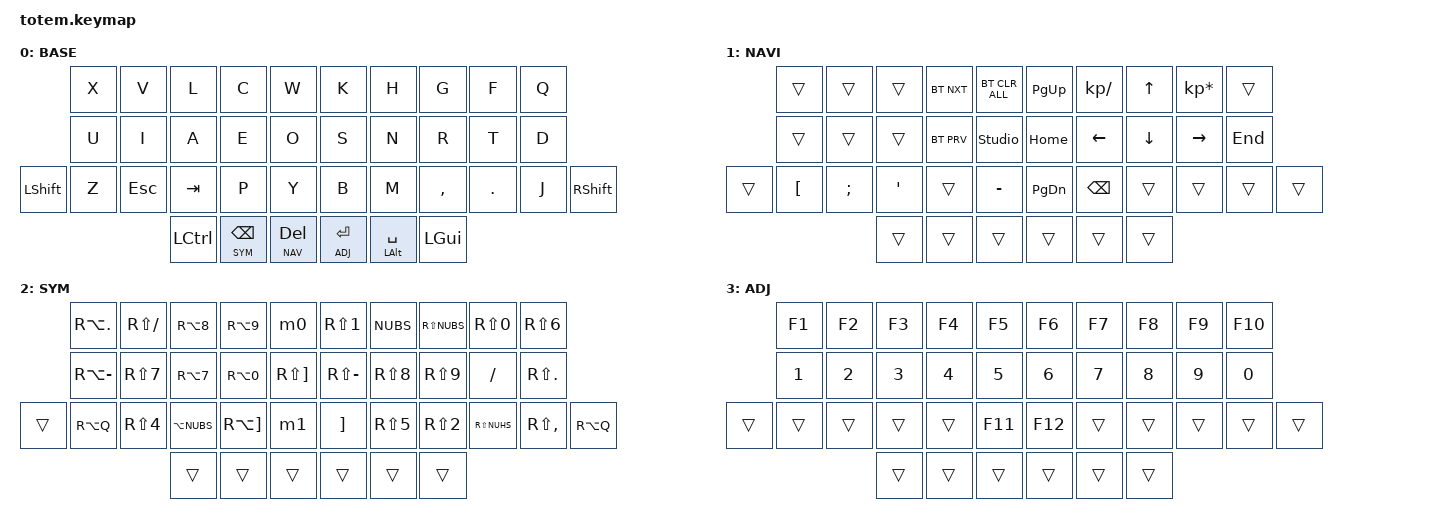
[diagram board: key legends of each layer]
//
//                                                        ▀▀▀▀▀     ▀▀▀▀▀          ▀▀█▀▀
//                                                        ▄▀▀▀▄  ▄  ▄▀▀▀▄  ▄  ▄▀▀▀▄  █  ▄▀▀▀▄
//                                                        █   █  █  █   █  █  █   █  █  █   █
//                                                         ▀▀▀   █   ▀▀▀   █   ▀▀▀   ▀   ▀▀▀
//                                                               █      ▄▄▄█▄▄▄    █   █  
//                                                               ▀      █  █  █     █▄█
//                                                             ▀▀▀▀▀    █  █  █      ▀
//                                                                      ▀  ▀  ▀
//
// ▄▄▄▄▄▄▄▄▄▄▄▄▄▄▄▄▄▄▄▄▄▄▄▄▄▄▄▄▄▄▄▄▄▄▄▄▄▄▄▄▄▄▄▄▄▄▄▄▄▄▄▄▄▄▄▄▄▄▄▄▄▄▄▄▄▄▄▄▄▄▄▄▄▄▄▄▄▄▄▄▄▄▄▄▄▄▄▄▄▄▄▄▄▄▄▄▄▄▄▄▄▄▄▄▄▄▄▄▄▄▄▄▄▄▄▄▄▄▄▄▄▄▄▄▄▄▄▄▄▄▄▄▄▄▄▄▄▄▄▄▄▄▄▄▄▄▄▄▄
       

#include <behaviors.dtsi>
#include <dt-bindings/zmk/keys.h>
#include <dt-bindings/zmk/bt.h>
#include <dt-bindings/zmk/outputs.h>

#define BASE 0
#define NAV  1
#define SYM  2
#define ADJ  3

&mt {
  quick-tap-ms = <100>;
  global-quick-tap;
  flavor = "tap-preferred";
  tapping-term-ms = <170>;
};

/ {
    combos {
            compatible = "zmk,combos";
            combo_esc {
                timeout-ms = <50>;
                key-positions = <0 1>;
                bindings = <&kp ESC>;
            };
    };

    macros {
        m0: macro_0 {
                label = "M0";
                compatible = "zmk,behavior-macro";
                #binding-cells = <0>;
                bindings = <&macro_tap &kp GRAVE &kp SPACE>;
        };

        m1: macro_1 {
                label = "M1";
                compatible = "zmk,behavior-macro";
                #binding-cells = <0>;
                bindings
                        = <&macro_press &kp LSHFT>
                        , <&macro_tap &kp EQUAL &kp EQUAL>
                        , <&macro_release &kp LSHFT>;
        };
    };

        keymap {
                compatible = "zmk,keymap";
// ▄▄▄▄▄▄▄▄▄▄▄▄▄▄▄▄▄▄▄▄▄▄▄▄▄▄▄▄▄▄▄▄▄▄▄▄▄▄▄▄▄▄▄▄▄▄▄▄▄▄▄▄▄▄▄▄▄▄▄▄▄▄▄▄▄▄▄▄▄▄▄▄▄▄▄▄▄▄▄▄▄▄▄▄▄▄▄▄▄▄▄▄▄▄▄▄▄▄▄▄▄▄▄▄▄▄▄▄▄▄▄▄▄▄▄▄▄▄▄▄▄▄▄▄▄▄▄▄▄▄▄▄▄▄▄▄▄▄▄▄▄▄▄▄▄▄▄▄▄

                base_layer {
// ┏━━━━━━━━━━━━━━━━━━━━━━━━━━━━━━━━━━━━━━━┓
label= "BASE"                              ;
// ┗━━━━━━━━━━━━━━━━━━━━━━━━━━━━━━━━━━━━━━━┛
//             ┏━━━━━━━━━━━┳━━━━━━━━━━━┳━━━━━━━━━━━┳━━━━━━━━━━━┳━━━━━━━━━━━┓   ┏━━━━━━━━━━━┳━━━━━━━━━━━┳━━━━━━━━━━━┳━━━━━━━━━━━┳━━━━━━━━━━━┓
//             ┃     X     ┃     V     ┃     L     ┃     C     ┃     W     ┃   ┃     K     ┃     H     ┃     G     ┃     F     ┃     Q     ┃
//             ┣━━━━━━━━━━━╋━━━━━━━━━━━╋━━━━━━━━━━━╋━━━━━━━━━━━╋━━━━━━━━━━━┫   ┣━━━━━━━━━━━╋━━━━━━━━━━━╋━━━━━━━━━━━╋━━━━━━━━━━━╋━━━━━━━━━━━┫
//             ┃     U     ┃     I     ┃     A     ┃     E     ┃     O     ┃   ┃     S     ┃     N     ┃     R     ┃     T     ┃     D     ┃
// ┏━━━━━━━━━━━╋━━━━━━━━━━━╋━━━━━━━━━━━╋━━━━━━━━━━━╋━━━━━━━━━━━╋━━━━━━━━━━━┫   ┣━━━━━━━━━━━╋━━━━━━━━━━━╋━━━━━━━━━━━╋━━━━━━━━━━━╋━━━━━━━━━━━╋━━━━━━━━━━━┓
// ┃   LSHFT   ┃     Z     ┃    ESC    ┃    TAB    ┃     P     ┃     Y     ┃   ┃     B     ┃     M     ┃     ,     ┃     .     ┃     J     ┃   RSHFT   ┃
// ┗━━━━━━━━━━━┻━━━━━━━━━━━┻━━━━━━━━━━━╋━━━━━━━━━━━╋━━━━━━━━━━━╋━━━━━━━━━━━┫   ┣━━━━━━━━━━━╋━━━━━━━━━━━╋━━━━━━━━━━━╋━━━━━━━━━━━┻━━━━━━━━━━━┻━━━━━━━━━━━┛
//                                     ┃   LCTRL   ┃ SYM_BSPC  ┃ NAV_DEL   ┃   ┃  ADJ_RET  ┃ ALT_SPACE ┃   LGUI    ┃
//                                     ┗━━━━━━━━━━━┻━━━━━━━━━━━┻━━━━━━━━━━━┛   ┗━━━━━━━━━━━┻━━━━━━━━━━━┻━━━━━━━━━━━┛
 bindings = <
// ╷           ╷           ╷           ╷           ╷           ╷           ╷   ╷           ╷           ╷           ╷           ╷           ╷           ╷

                &kp X       &kp V       &kp L       &kp C       &kp W           &kp K       &kp H       &kp G       &kp F       &kp Q
                &kp U       &kp I       &kp A       &kp E       &kp O           &kp S       &kp N       &kp R       &kp T       &kp D
    &kp LSHFT   &kp Z       &kp ESC     &kp TAB     &kp P       &kp Y           &kp B       &kp M       &kp COMMA   &kp DOT     &kp J       &kp RSHFT
                                        &kp LCTRL   &lt SYM BSPC  &lt NAV DEL   &lt ADJ RET   &mt LALT SPACE &kp LGUI
                        >;
                };

// ▄▄▄▄▄▄▄▄▄▄▄▄▄▄▄▄▄▄▄▄▄▄▄▄▄▄▄▄▄▄▄▄▄▄▄▄▄▄▄▄▄▄▄▄▄▄▄▄▄▄▄▄▄▄▄▄▄▄▄▄▄▄▄▄▄▄▄▄▄▄▄▄▄▄▄▄▄▄▄▄▄▄▄▄▄▄▄▄▄▄▄▄▄▄▄▄▄▄▄▄▄▄▄▄▄▄▄▄▄▄▄▄▄▄▄▄▄▄▄▄▄▄▄▄▄▄▄▄▄▄▄▄▄▄▄▄▄▄▄▄▄▄▄▄▄▄▄▄▄


                nav_layer {
// ┏━━━━━━━━━━━━━━━━━━━━━━━━━━━━━━━━━━━━━━━┓
label= "NAVI"                              ;
// ┗━━━━━━━━━━━━━━━━━━━━━━━━━━━━━━━━━━━━━━━┛
//             ┏━━━━━━━━━━━┳━━━━━━━━━━━┳━━━━━━━━━━━┳━━━━━━━━━━━┳━━━━━━━━━━━┓   ┏━━━━━━━━━━━┳━━━━━━━━━━━┳━━━━━━━━━━━┳━━━━━━━━━━━┳━━━━━━━━━━━┓
//             ┃   TRNS    ┃   TRNS    ┃   TRNS    ┃   TRNS    ┃   TRNS    ┃   ┃   PGUP    ┃   KP /    ┃    UP     ┃   KP *    ┃   TRNS    ┃
//             ┣━━━━━━━━━━━╋━━━━━━━━━━━╋━━━━━━━━━━━╋━━━━━━━━━━━╋━━━━━━━━━━━┫   ┣━━━━━━━━━━━╋━━━━━━━━━━━╋━━━━━━━━━━━╋━━━━━━━━━━━╋━━━━━━━━━━━┫
//             ┃   TRNS    ┃   TRNS    ┃   TRNS    ┃   TRNS    ┃   TRNS    ┃   ┃   HOME    ┃   LEFT    ┃   DOWN    ┃   RGHT    ┃    END    ┃
// ┏━━━━━━━━━━━╋━━━━━━━━━━━╋━━━━━━━━━━━╋━━━━━━━━━━━╋━━━━━━━━━━━╋━━━━━━━━━━━┫   ┣━━━━━━━━━━━╋━━━━━━━━━━━╋━━━━━━━━━━━╋━━━━━━━━━━━╋━━━━━━━━━━━╋━━━━━━━━━━━┓
// ┃   TRNS    ┃    [      ┃    ;      ┃    '      ┃   TRNS    ┃    -      ┃   ┃   PGDN    ┃   BSPC    ┃   TRNS    ┃   TRNS    ┃   TRNS    ┃   TRNS    ┃
// ┗━━━━━━━━━━━┻━━━━━━━━━━━┻━━━━━━━━━━━╋━━━━━━━━━━━╋━━━━━━━━━━━╋━━━━━━━━━━━┫   ┣━━━━━━━━━━━╋━━━━━━━━━━━╋━━━━━━━━━━━╋━━━━━━━━━━━┻━━━━━━━━━━━┻━━━━━━━━━━━┛
//                                     ┃   TRNS    ┃   TRNS    ┃   TRNS    ┃   ┃   TRNS    ┃   TRNS    ┃   TRNS    ┃
//                                     ┗━━━━━━━━━━━┻━━━━━━━━━━━┻━━━━━━━━━━━┛   ┗━━━━━━━━━━━┻━━━━━━━━━━━┻━━━━━━━━━━━┛
 bindings = <
// ╷           ╷           ╷           ╷           ╷           ╷           ╷   ╷           ╷           ╷           ╷           ╷           ╷           ╷

                &trans      &trans      &trans      &bt BT_NXT  &bt BT_CLR_ALL  &kp PG_UP   &kp KP_DIVIDE &kp UP      &kp KP_MULTIPLY &trans
                &trans      &trans      &trans      &bt BT_PRV  &studio_unlock  &kp HOME    &kp LEFT    &kp DOWN    &kp RIGHT   &kp END
    &trans      &kp LBKT    &kp SEMI    &kp SQT     &trans      &kp MINUS       &kp PG_DN   &kp BSPC    &trans      &trans      &trans      &trans
                                        &trans      &trans      &trans          &trans      &trans      &trans
                        >;
                };

// ▄▄▄▄▄▄▄▄▄▄▄▄▄▄▄▄▄▄▄▄▄▄▄▄▄▄▄▄▄▄▄▄▄▄▄▄▄▄▄▄▄▄▄▄▄▄▄▄▄▄▄▄▄▄▄▄▄▄▄▄▄▄▄▄▄▄▄▄▄▄▄▄▄▄▄▄▄▄▄▄▄▄▄▄▄▄▄▄▄▄▄▄▄▄▄▄▄▄▄▄▄▄▄▄▄▄▄▄▄▄▄▄▄▄▄▄▄▄▄▄▄▄▄▄▄▄▄▄▄▄▄▄▄▄▄▄▄▄▄▄▄▄▄▄▄▄▄▄▄


                sim_layer {
// ┏━━━━━━━━━━━━━━━━━━━━━━━━━━━━━━━━━━━━━━━┓
label= "SYM"                               ;
// ┗━━━━━━━━━━━━━━━━━━━━━━━━━━━━━━━━━━━━━━━┛
//             ┏━━━━━━━━━━━┳━━━━━━━━━━━┳━━━━━━━━━━━┳━━━━━━━━━━━┳━━━━━━━━━━━┓   ┏━━━━━━━━━━━┳━━━━━━━━━━━┳━━━━━━━━━━━┳━━━━━━━━━━━┳━━━━━━━━━━━┓
//             ┃   RA(.)   ┃   RS(/)   ┃   RA(8)   ┃   RA(9)   ┃    M0     ┃   ┃   RS(1)   ┃   NUBS    ┃   RS(\)   ┃   RS(0)   ┃   RS(6)   ┃
//             ┣━━━━━━━━━━━╋━━━━━━━━━━━╋━━━━━━━━━━━╋━━━━━━━━━━━╋━━━━━━━━━━━┫   ┣━━━━━━━━━━━╋━━━━━━━━━━━╋━━━━━━━━━━━╋━━━━━━━━━━━╋━━━━━━━━━━━┫
//             ┃   RA(-)   ┃   RS(7)   ┃   RA(7)   ┃   RA(0)   ┃   RS(])   ┃   ┃   RS(-)   ┃   RS(8)   ┃   RS(9)   ┃     /     ┃   RS(.)   ┃
// ┏━━━━━━━━━━━╋━━━━━━━━━━━╋━━━━━━━━━━━╋━━━━━━━━━━━╋━━━━━━━━━━━╋━━━━━━━━━━━┫   ┣━━━━━━━━━━━╋━━━━━━━━━━━╋━━━━━━━━━━━╋━━━━━━━━━━━╋━━━━━━━━━━━╋━━━━━━━━━━━┓
// ┃   TRNS    ┃   RA(Q)   ┃   RS(4)   ┃   LA(\)   ┃   RA(])   ┃    M1     ┃   ┃    ]      ┃   RS(5)   ┃   RS(2)   ┃   RS(#)   ┃   RS(,)   ┃   RA(Q)   ┃
// ┗━━━━━━━━━━━┻━━━━━━━━━━━┻━━━━━━━━━━━╋━━━━━━━━━━━╋━━━━━━━━━━━╋━━━━━━━━━━━┫   ┣━━━━━━━━━━━╋━━━━━━━━━━━╋━━━━━━━━━━━╋━━━━━━━━━━━┻━━━━━━━━━━━┻━━━━━━━━━━━┛
//                                     ┃   TRNS    ┃   TRNS    ┃   TRNS    ┃   ┃   TRNS    ┃   TRNS    ┃   TRNS    ┃
//                                     ┗━━━━━━━━━━━┻━━━━━━━━━━━┻━━━━━━━━━━━┛   ┗━━━━━━━━━━━┻━━━━━━━━━━━┻━━━━━━━━━━━┛
 bindings = <
// ╷           ╷           ╷           ╷           ╷           ╷           ╷   ╷           ╷           ╷           ╷           ╷           ╷           ╷

                &kp RA(DOT) &kp RS(FSLH) &kp RA(N8)  &kp RA(N9)  &m0            &kp RS(N1)  &kp NUBS    &kp RS(NUBS) &kp RS(N0)  &kp RS(N6)
                &kp RA(MINUS) &kp RS(N7) &kp RA(N7)  &kp RA(N0)  &kp RS(RBKT)   &kp RS(MINUS) &kp RS(N8) &kp RS(N9)  &kp FSLH    &kp RS(DOT)
    &trans      &kp RA(Q)   &kp RS(N4)  &kp LA(NUBS) &kp RA(RBKT) &m1           &kp RBKT    &kp RS(N5)  &kp RS(N2)  &kp RS(NUHS) &kp RS(COMMA) &kp RA(Q)
                                        &trans      &trans      &trans          &trans      &trans      &trans
                        >;
                };

// ▄▄▄▄▄▄▄▄▄▄▄▄▄▄▄▄▄▄▄▄▄▄▄▄▄▄▄▄▄▄▄▄▄▄▄▄▄▄▄▄▄▄▄▄▄▄▄▄▄▄▄▄▄▄▄▄▄▄▄▄▄▄▄▄▄▄▄▄▄▄▄▄▄▄▄▄▄▄▄▄▄▄▄▄▄▄▄▄▄▄▄▄▄▄▄▄▄▄▄▄▄▄▄▄▄▄▄▄▄▄▄▄▄▄▄▄▄▄▄▄▄▄▄▄▄▄▄▄▄▄▄▄▄▄▄▄▄▄▄▄▄▄▄▄▄▄▄▄▄


                adjust_layer {
// ┏━━━━━━━━━━━━━━━━━━━━━━━━━━━━━━━━━━━━━━━┓
label= "ADJ"                               ;
// ┗━━━━━━━━━━━━━━━━━━━━━━━━━━━━━━━━━━━━━━━┛
//             ┏━━━━━━━━━━━┳━━━━━━━━━━━┳━━━━━━━━━━━┳━━━━━━━━━━━┳━━━━━━━━━━━┓   ┏━━━━━━━━━━━┳━━━━━━━━━━━┳━━━━━━━━━━━┳━━━━━━━━━━━┳━━━━━━━━━━━┓
//             ┃    F1     ┃    F2     ┃    F3     ┃    F4     ┃    F5     ┃   ┃    F6     ┃    F7     ┃    F8     ┃    F9     ┃    F10    ┃
//             ┣━━━━━━━━━━━╋━━━━━━━━━━━╋━━━━━━━━━━━╋━━━━━━━━━━━╋━━━━━━━━━━━┫   ┣━━━━━━━━━━━╋━━━━━━━━━━━╋━━━━━━━━━━━╋━━━━━━━━━━━╋━━━━━━━━━━━┫
//             ┃    1      ┃    2      ┃    3      ┃    4      ┃    5      ┃   ┃    6      ┃    7      ┃    8      ┃    9      ┃    0      ┃
// ┏━━━━━━━━━━━╋━━━━━━━━━━━╋━━━━━━━━━━━╋━━━━━━━━━━━╋━━━━━━━━━━━╋━━━━━━━━━━━┫   ┣━━━━━━━━━━━╋━━━━━━━━━━━╋━━━━━━━━━━━╋━━━━━━━━━━━╋━━━━━━━━━━━╋━━━━━━━━━━━┓
// ┃   TRNS    ┃   TRNS    ┃   TRNS    ┃   TRNS    ┃   TRNS    ┃    F11    ┃   ┃    F12    ┃   TRNS    ┃   TRNS    ┃   TRNS    ┃   TRNS    ┃   TRNS    ┃
// ┗━━━━━━━━━━━┻━━━━━━━━━━━┻━━━━━━━━━━━╋━━━━━━━━━━━╋━━━━━━━━━━━╋━━━━━━━━━━━┫   ┣━━━━━━━━━━━╋━━━━━━━━━━━╋━━━━━━━━━━━╋━━━━━━━━━━━┻━━━━━━━━━━━┻━━━━━━━━━━━┛
//                                     ┃   TRNS    ┃   TRNS    ┃   TRNS    ┃   ┃   TRNS    ┃   TRNS    ┃   TRNS    ┃
//                                     ┗━━━━━━━━━━━┻━━━━━━━━━━━┻━━━━━━━━━━━┛   ┗━━━━━━━━━━━┻━━━━━━━━━━━┻━━━━━━━━━━━┛
 bindings = <
// ╷           ╷           ╷           ╷           ╷           ╷           ╷   ╷           ╷           ╷           ╷           ╷           ╷           ╷

                &kp F1      &kp F2      &kp F3      &kp F4      &kp F5          &kp F6      &kp F7      &kp F8      &kp F9      &kp F10
                &kp N1      &kp N2      &kp N3      &kp N4      &kp N5          &kp N6      &kp N7      &kp N8      &kp N9      &kp N0
    &trans      &trans      &trans      &trans      &trans      &kp F11         &kp F12     &trans      &trans      &trans      &trans      &trans
                                        &trans      &trans      &trans          &trans      &trans      &trans
                        >;
                };
        };
};
